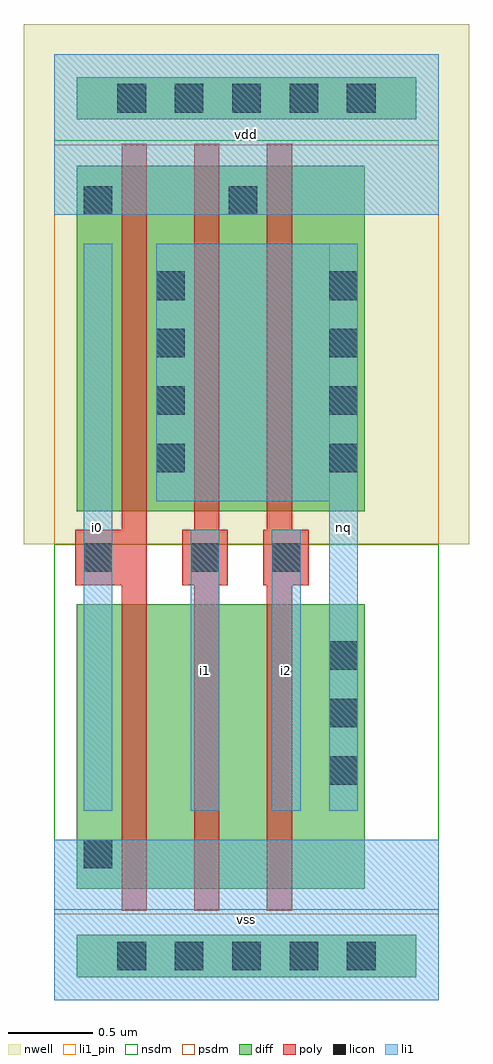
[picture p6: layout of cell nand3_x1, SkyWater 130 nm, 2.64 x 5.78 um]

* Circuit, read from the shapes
.subckt nand3_x1 i0 i1 i2 nq vdd vss
XM1 n1 i0 vss VSUBS sky130_fd_pr__nfet_01v8 w=1.685 l=0.15
XM2 n2 i1 n1 VSUBS sky130_fd_pr__nfet_01v8 w=1.685 l=0.15
XM3 nq i2 n2 VSUBS sky130_fd_pr__nfet_01v8 w=1.685 l=0.15
XM4 nq i0 vdd n3 sky130_fd_pr__pfet_01v8 w=2.045 l=0.15
XM5 vdd i1 nq n3 sky130_fd_pr__pfet_01v8 w=2.045 l=0.15
XM6 nq i2 vdd n3 sky130_fd_pr__pfet_01v8 w=2.045 l=0.15
.ends

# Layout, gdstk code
import gdstk
lib = gdstk.Library(unit=1e-6, precision=1e-09)
def R(c, l, rs):  # rectangles x0, y0, x1, y1
    for r in rs: c.add(gdstk.rectangle(r[:2], r[2:], *l))
def A(c, l, x, y, w, h, nx, ny, dx, dy):  # array of equal rectangles
    R(c, l, [(x+i*dx, y+j*dy, x+i*dx+w, y+j*dy+h) for i in range(nx) for j in range(ny)])
def P(c, l, *ps):  # polygons
    for p in ps: c.add(gdstk.Polygon(p, *l))
nwell = (64, 20)
diff = (65, 20)
poly = (66, 20)
licon = (66, 44)
li1_pin = (67, 16)
li1 = (67, 20)
nsdm = (93, 44)
psdm = (94, 20)

nand3_x1 = lib.new_cell('nand3_x1')
R(nand3_x1, nwell, [(-0.18,2.7,2.46,5.78)])
R(nand3_x1, diff, [(0.135,0.135,2.145,0.385), (0.135,0.66,1.84,2.345), (0.135,2.895,1.84,4.94), (0.135,5.215,2.145,5.465)])
P(nand3_x1, poly, [(0.4,0.53),(0.4,2.455),(0.125,2.455),(0.125,2.785),(0.4,2.785),(0.4,5.07),(0.55,5.07),(0.55,0.53)],
  [(0.83,0.53),(0.83,2.455),(0.76,2.455),(0.76,2.785),(0.83,2.785),(0.83,5.07),(0.98,5.07),(0.98,2.785),(1.03,2.785),(1.03,2.455),(0.98,2.455),(0.98,0.53)],
  [(1.26,0.53),(1.26,2.455),(1.24,2.455),(1.24,2.785),(1.26,2.785),(1.26,5.07),(1.41,5.07),(1.41,2.785),(1.51,2.785),(1.51,2.455),(1.41,2.455),(1.41,0.53)])
A(nand3_x1, licon, 0.375, 0.175, 0.17, 0.17, 5, 2, 0.34, 5.08)
A(nand3_x1, licon, 1.63, 1.275, 0.17, 0.17, 1, 3, 0, 0.34)
A(nand3_x1, licon, 0.605, 3.125, 0.17, 0.17, 1, 4, 0, 0.34)
A(nand3_x1, licon, 1.63, 3.125, 0.17, 0.17, 1, 4, 0, 0.34)
R(nand3_x1, licon, [(0.175,0.78,0.345,0.95), (0.175,2.535,0.345,2.705), (0.81,2.535,0.98,2.705), (1.29,2.535,1.46,2.705), (0.175,4.65,0.345,4.82), (1.035,4.65,1.205,4.82)])
R(nand3_x1, li1_pin, [(0,0,2.28,0.95), (0.175,1.12,0.345,4.48), (0.81,1.12,0.98,2.785), (1.29,1.12,1.46,2.785), (1.63,1.12,1.8,4.48), (0,4.65,2.28,5.6)])
R(nand3_x1, li1, [(0,0,2.28,0.95), (0.175,1.12,0.345,4.48), (0.81,1.12,0.98,2.785), (1.29,1.12,1.46,2.785), (0,4.65,2.28,5.6)])
P(nand3_x1, li1, [(1.63,1.12),(1.63,2.955),(0.605,2.955),(0.605,4.48),(1.8,4.48),(1.8,1.12)])
R(nand3_x1, nsdm, [(0,0.535,2.28,2.7), (0,5.09,2.28,5.6)])
R(nand3_x1, psdm, [(0,0,2.28,0.51), (0,2.7,2.28,5.065)])
nand3_x1.add(gdstk.Label('vss', (1.14,0.475), layer=67, texttype=16))
nand3_x1.add(gdstk.Label('vdd', (1.14,5.125), layer=67, texttype=16))
nand3_x1.add(gdstk.Label('i0', (0.26,2.8), layer=67, texttype=16))
nand3_x1.add(gdstk.Label('nq', (1.715,2.8), layer=67, texttype=16))
nand3_x1.add(gdstk.Label('i1', (0.895,1.953), layer=67, texttype=16))
nand3_x1.add(gdstk.Label('i2', (1.375,1.953), layer=67, texttype=16))

lib.write_gds('nand3_x1.gds')
